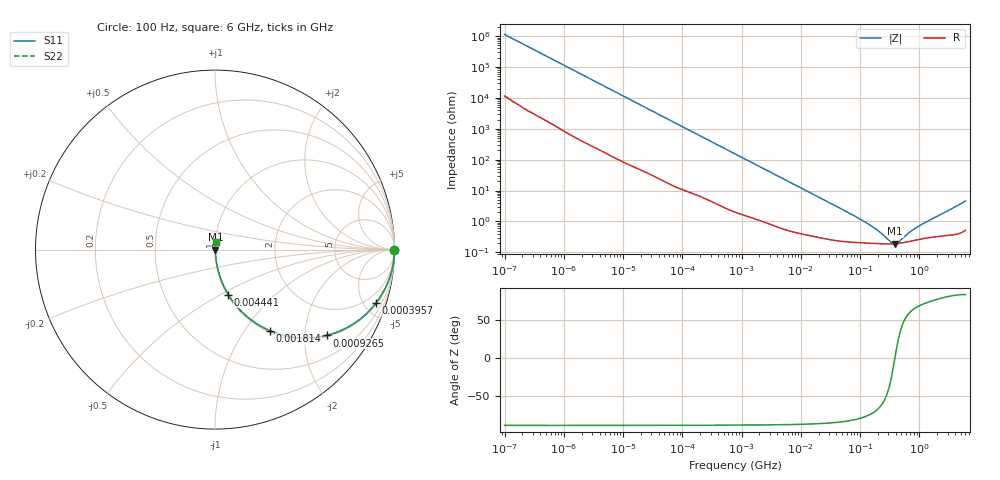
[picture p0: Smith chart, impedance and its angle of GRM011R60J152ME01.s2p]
!Murata Part Number: GRM011R60J152ME01
!These Parameters are Measured in Series Mode Connection
!Data Generated on Mar 30, 2021
!  o--ll--o
!Port1  Port2
!  o------o
!Operation Temp=25[degC], DC Bias Voltage=0[V]
!Freq. Start=100[Hz] Stop=6[GHz] 401[Steps]
# Hz S RI R 50
!Freq.(Hz) S11(Real) S11(Imag) S21(Real) S21(Imag) S12(Real) S12(Imag) S22(Real) S22(Imag)
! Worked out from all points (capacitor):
!   401 points, 100 Hz to 6 GHz, reference 50 ohm
!   read as one part in series: C = 1.4 nF near 109 Hz
!   lowest |Z| = 190 mohm at 390.8 MHz (marker M1)
!   series resonance near 388 MHz, so ESL is about 120 pH
!   S11 on the Smith chart (normalised r, x): 100 Hz: open; 395.7 kHz: 1.07, -5.99; 926.5 kHz: 1.04, -2.57; 1.814 MHz: 1.02, -1.32; 4.441 MHz: 1.01, -0.55; 6 GHz: 1.01, +0.09
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100  1 -8.8e-05  9e-07 8.8e-05  9e-07 8.8e-05  1 -8.8e-05
131  1 -0.000115  1.1e-06 0.000115  1.1e-06 0.000115  1 -0.000115
2008  1 -0.00174  1.52e-05 0.00174  1.52e-05 0.00174  1 -0.00174
40335  0.9985 -0.0344  0.00147 0.0344  0.00147 0.0344  0.9985 -0.0344
141303  0.9846 -0.1181  0.0154 0.1181  0.0154 0.1181  0.9846 -0.1181
395726  0.897 -0.2982  0.103 0.2982  0.103 0.2982  0.897 -0.2982
774597  0.7003 -0.4517  0.2997 0.4517  0.2997 0.4517  0.7003 -0.4517
926525  0.6218 -0.4781  0.3782 0.4781  0.3782 0.4781  0.6218 -0.4781
1267578  0.471 -0.4915  0.529 0.4915  0.529 0.4915  0.471 -0.4915
1813585  0.3073 -0.4527  0.6927 0.4527  0.6927 0.4527  0.3073 -0.4527
2837864  0.1576 -0.3546  0.8424 0.3546  0.8424 0.3546  0.1576 -0.3546
4440638  0.074 -0.2508  0.926 0.2508  0.926 0.2508  0.074 -0.2508
1.555665e7  0.00941 -0.0777  0.9906 0.0777  0.9906 0.0777  0.00941 -0.0777
1.275994e8  0.00206 -0.00879  0.9979 0.00879  0.9979 0.00879  0.00206 -0.00879
1.996653e8  0.00192 -0.00469  0.9981 0.00469  0.9981 0.00469  0.00192 -0.00469
3.124326e8  0.00186 -0.00145  0.9981 0.00145  0.9981 0.00145  0.00186 -0.00145
3.573489e8  0.00188 -0.000544  0.9981 0.000544  0.9981 0.000544  0.00188 -0.000544
3.908258e8  0.0019 4.98e-05  0.9981 -4.98e-05  0.9981 -4.98e-05  0.0019 4.98e-05
4.470121e8  0.00195 0.000938  0.9981 -0.000938  0.9981 -0.000938  0.00195 0.000938
6.688484e8  0.00223 0.00367  0.9978 -0.00367  0.9978 -0.00367  0.00223 0.00367
9.569533e8  0.00261 0.00634  0.9974 -0.00634  0.9974 -0.00634  0.00261 0.00634
6e9  0.00717 0.045  0.9928 -0.045  0.9928 -0.045  0.00717 0.045
